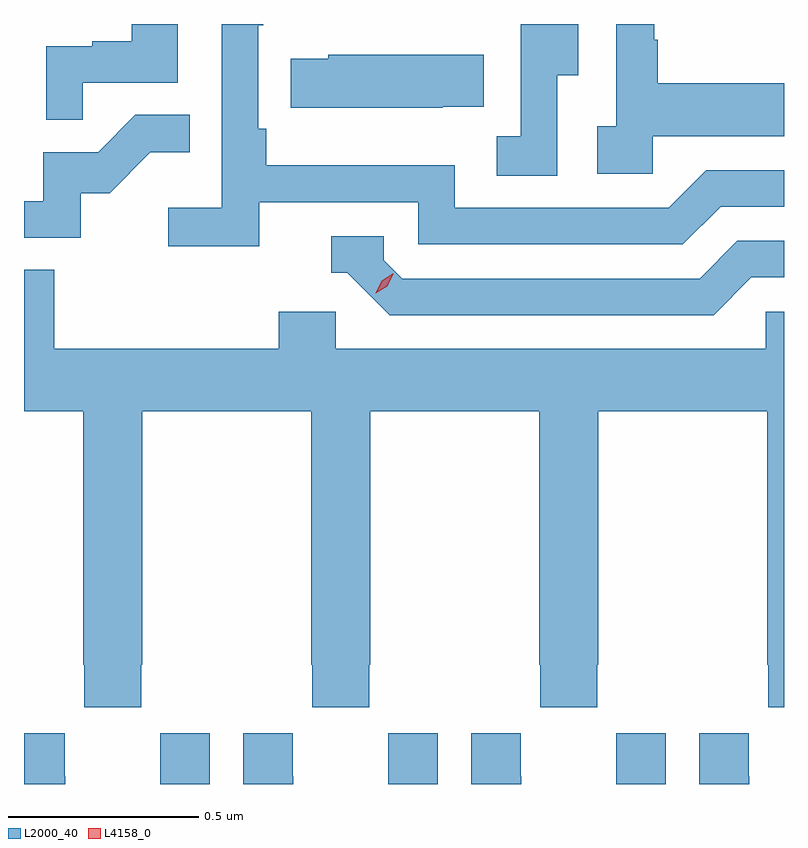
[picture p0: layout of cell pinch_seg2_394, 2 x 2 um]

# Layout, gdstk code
import gdstk
lib = gdstk.Library(unit=1e-6, precision=1e-09)
def P(c, l, *ps):  # polygons
    for p in ps: c.add(gdstk.Polygon(p, *l))
L2000_40 = (2000, 40)
L4158_0 = (4158, 0)

pinch_seg2_394 = lib.new_cell('pinch_seg2_394')
P(pinch_seg2_394, L2000_40, [(973.23,605.896),(973.285,605.896),(973.285,606.031),(973.134,606.031),(973.134,605.735),(973.071,605.735),(973.071,605.632),(973.23,605.632)],
  [(971.981,605.877),(972.232,605.877),(972.232,606.031),(972.11,606.031),(972.11,605.986),(972.007,605.986),(972.007,605.973),(971.886,605.973),(971.886,605.779),(971.981,605.779)],
  [(972.446,605.562),(972.864,605.562),(972.864,605.451),(973.561,605.451),(973.66,605.55),(973.827,605.55),(973.827,605.646),(973.623,605.646),(973.524,605.547),(972.96,605.547),(972.96,605.659),(972.464,605.659),(972.464,605.755),(972.444,605.755),(972.444,606.028),(972.457,606.028),(972.457,606.031),(972.348,606.031),(972.348,605.548),(972.207,605.548),(972.207,605.446),(972.446,605.446)],
  [(973.482,605.735),(973.827,605.735),(973.827,605.875),(973.495,605.875),(973.495,605.99),(973.485,605.99),(973.485,606.031),(973.386,606.031),(973.386,605.762),(973.335,605.762),(973.335,605.637),(973.482,605.637)],
  [(972.929,605.813),(973.037,605.813),(973.037,605.95),(972.627,605.95),(972.627,605.94),(972.529,605.94),(972.529,605.81),(972.929,605.81)],
  [(971.976,605.586),(972.052,605.586),(972.159,605.693),(972.263,605.693),(972.263,605.792),(972.12,605.792),(972.022,605.694),(971.877,605.694),(971.877,605.565),(971.827,605.565),(971.827,605.469),(971.976,605.469)],
  [(973.741,605.364),(973.827,605.364),(973.827,605.46),(973.704,605.46),(973.605,605.361),(972.822,605.361),(972.774,605.409),(972.774,605.472),(972.635,605.472),(972.635,605.376),(972.678,605.376),(972.789,605.265),(973.642,605.265)],
  [(972.135,604.345),(972.138,604.345),(972.138,605.012),(972.583,605.012),(972.583,604.345),(972.585,604.345),(972.585,604.233),(972.735,604.233),(972.735,604.345),(972.738,604.345),(972.738,605.012),(973.183,605.012),(973.183,604.345),(973.185,604.345),(973.185,604.233),(973.335,604.233),(973.335,604.345),(973.338,604.345),(973.338,605.012),(973.783,605.012),(973.783,604.345),(973.785,604.345),(973.785,604.233),(973.827,604.233),(973.827,605.274),(973.779,605.274),(973.779,605.176),(972.648,605.176),(972.648,605.274),(972.497,605.274),(972.497,605.176),(971.906,605.176),(971.906,605.384),(971.827,605.384),(971.827,605.012),(971.983,605.012),(971.983,604.345),(971.985,604.345),(971.985,604.233),(972.135,604.233)],
  [(973.735,604.052),(973.734,604.052),(973.734,604.165),(973.604,604.165),(973.604,604.031),(973.735,604.031)],
  [(971.935,604.052),(971.934,604.052),(971.934,604.165),(971.827,604.165),(971.827,604.031),(971.935,604.031)],
  [(972.316,604.165),(972.186,604.165),(972.186,604.052),(972.185,604.052),(972.185,604.031),(972.316,604.031)],
  [(972.535,604.052),(972.534,604.052),(972.534,604.165),(972.404,604.165),(972.404,604.031),(972.535,604.031)],
  [(972.916,604.165),(972.786,604.165),(972.786,604.052),(972.785,604.052),(972.785,604.031),(972.916,604.031)],
  [(973.135,604.052),(973.134,604.052),(973.134,604.165),(973.004,604.165),(973.004,604.031),(973.135,604.031)],
  [(973.516,604.165),(973.386,604.165),(973.386,604.052),(973.385,604.052),(973.385,604.031),(973.516,604.031)])
P(pinch_seg2_394, L4158_0, [(972.752,605.322),(972.752,605.322),(972.768,605.355),(972.798,605.374),(972.799,605.374),(972.799,605.374),(972.783,605.341),(972.752,605.322)])

lib.write_gds('pinch_seg2_394.gds')
